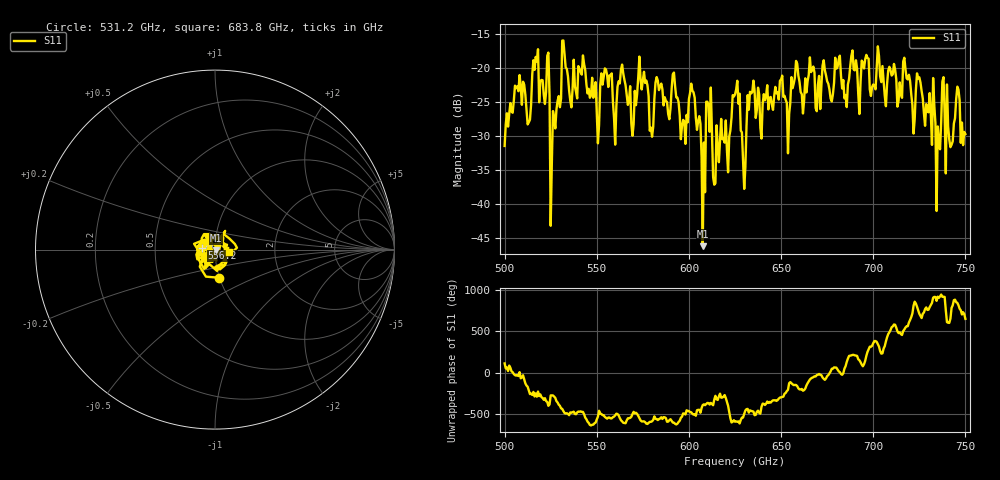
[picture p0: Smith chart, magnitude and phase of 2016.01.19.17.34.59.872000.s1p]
!Created with skrf (http://scikit-rf.org).
# GHz S RI R 50.0
!freq ReS11 ImS11
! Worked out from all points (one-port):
!   401 points, 500 GHz to 750 GHz, reference 50 ohm
!   lowest |S11| = -46.2 dB at 607.5 GHz (marker M1), VSWR 1.01, Z = 50.4 - j0.285 ohm
!   |S11| at or under -10 dB: start of sweep to end of sweep
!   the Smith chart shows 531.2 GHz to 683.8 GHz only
!   S11 on the Smith chart (normalised r, x): 531.2 GHz: 1.00, -0.32; 556.2 GHz: 0.87, +0.02; 683.8 GHz: 1.17, -0.03
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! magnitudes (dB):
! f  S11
! 500 GHz  -31.5
! 506.9 GHz  -22.7
! 513.1 GHz  -28.0
! 516.9 GHz  -18.4
! 523.1 GHz  -18.2
! 526.2 GHz  -26.3
! 531.2 GHz  -16.0
! 550 GHz  -26.5
! 556.2 GHz  -22.8
! 560 GHz  -31.3
! 562.5 GHz  -22.3
! 580 GHz  -30.1
! 583.1 GHz  -21.9
! 593.8 GHz  -24.4
! 601.9 GHz  -23.3
! 607.5 GHz  -46.2
! 610.6 GHz  -25.4
! 614.4 GHz  -36.9
! 625 GHz  -23.9
! 629.4 GHz  -33.8
! 634.4 GHz  -23.6
! 656.2 GHz  -23.0
! 683.8 GHz  -21.8
! 687.5 GHz  -19.8
! 718.8 GHz  -21.7
! 735 GHz  -28.6
! 745.6 GHz  -22.8
! 750 GHz  -29.7
